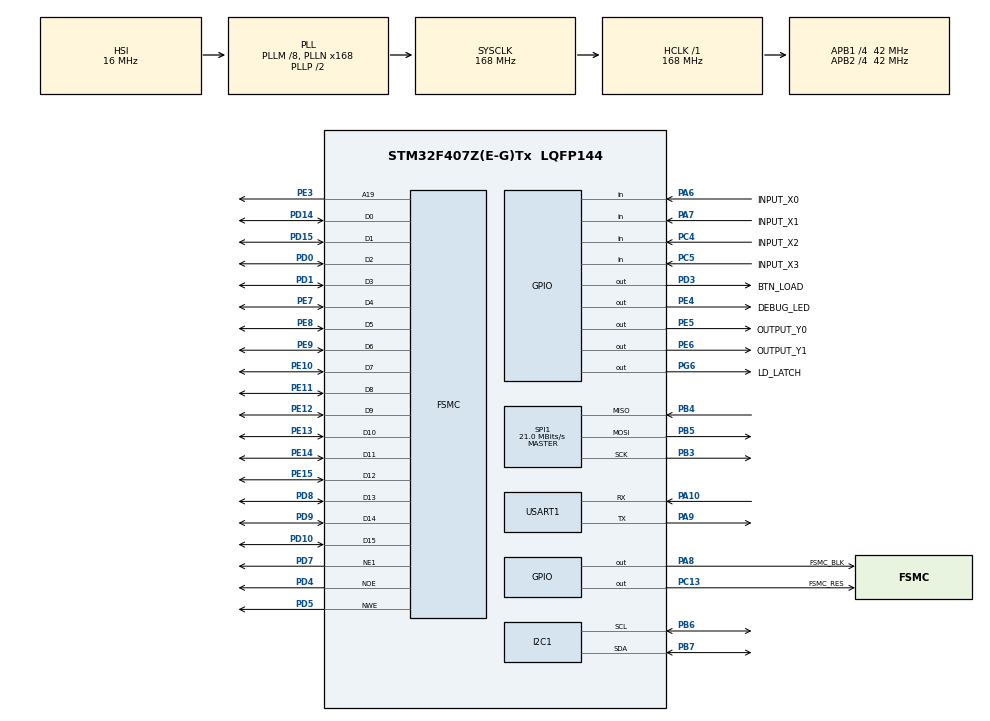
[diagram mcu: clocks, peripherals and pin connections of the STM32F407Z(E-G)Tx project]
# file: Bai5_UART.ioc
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FSMC.AddressSetupTime1=0xf
FSMC.BusTurnAroundDuration1=0
FSMC.DataSetupTime1=60
FSMC.ExtendedAddressSetupTime1=8
FSMC.ExtendedBusTurnAroundDuration1=0
FSMC.ExtendedDataSetupTime1=9
FSMC.ExtendedMode1=FSMC_EXTENDED_MODE_ENABLE
I2C1.I2C_Mode=I2C_Standard
Mcu.Family=STM32F4
Mcu.Name=STM32F407Z(E-G)Tx
Mcu.Package=LQFP144
NVIC.PriorityGroup=NVIC_PRIORITYGROUP_4
NVIC.TIM2_IRQn=true\:0\:0\:false\:false\:true\:true\:true\:true
NVIC.TIM4_IRQn=true\:0\:0\:false\:false\:true\:true\:true\:true
NVIC.USART1_IRQn=true\:0\:0\:false\:false\:true\:true\:true\:true
PA10.Mode=Asynchronous
PA10.Signal=USART1_RX
PA13.Mode=Serial_Wire
PA13.Signal=SYS_JTMS-SWDIO
PA14.Mode=Serial_Wire
PA14.Signal=SYS_JTCK-SWCLK
PA6.GPIO_Label=INPUT_X0
PA6.Signal=GPIO_Input
PA7.GPIO_Label=INPUT_X1
PA7.Signal=GPIO_Input
PA8.GPIO_Label=FSMC_BLK
PA8.Signal=GPIO_Output
PA9.Mode=Asynchronous
PA9.Signal=USART1_TX
PB3.Mode=Full_Duplex_Master
PB3.Signal=SPI1_SCK
PB4.Mode=Full_Duplex_Master
PB4.Signal=SPI1_MISO
PB5.Mode=Full_Duplex_Master
PB5.Signal=SPI1_MOSI
PB6.Mode=I2C
PB6.Signal=I2C1_SCL
PB7.Mode=I2C
PB7.Signal=I2C1_SDA
PC13-ANTI_TAMP.GPIO_Label=FSMC_RES
PC13-ANTI_TAMP.Signal=GPIO_Output
PC4.GPIO_Label=INPUT_X2
PC4.Signal=GPIO_Input
PC5.GPIO_Label=INPUT_X3
PC5.Signal=GPIO_Input
PD0.Signal=FSMC_D2_DA2
PD1.Signal=FSMC_D3_DA3
PD10.Signal=FSMC_D15_DA15
PD14.Signal=FSMC_D0_DA0
PD15.Signal=FSMC_D1_DA1
PD3.GPIO_Label=BTN_LOAD
PD3.Signal=GPIO_Output
PD4.Signal=FSMC_NOE
PD5.Signal=FSMC_NWE
PD7.Mode=NorPsramChipSelect1_1
PD7.Signal=FSMC_NE1
PD8.Signal=FSMC_D13_DA13
PD9.Signal=FSMC_D14_DA14
PE10.Signal=FSMC_D7_DA7
PE11.Signal=FSMC_D8_DA8
PE12.Signal=FSMC_D9_DA9
PE13.Signal=FSMC_D10_DA10
PE14.Signal=FSMC_D11_DA11
PE15.Signal=FSMC_D12_DA12
PE3.Signal=FSMC_A19
PE4.GPIO_Label=DEBUG_LED
PE4.Signal=GPIO_Output
PE5.GPIO_Label=OUTPUT_Y0
PE5.Signal=GPIO_Output
PE6.GPIO_Label=OUTPUT_Y1
PE6.Signal=GPIO_Output
PE7.Signal=FSMC_D4_DA4
PE8.Signal=FSMC_D5_DA5
PE9.Signal=FSMC_D6_DA6
PG6.GPIO_Label=LD_LATCH
PG6.Signal=GPIO_Output
PH0-OSC_IN.Mode=HSE-External-Oscillator
PH0-OSC_IN.Signal=RCC_OSC_IN
PH1-OSC_OUT.Mode=HSE-External-Oscillator
PH1-OSC_OUT.Signal=RCC_OSC_OUT
ProjectManager.HeapSize=0x200
ProjectManager.StackSize=0x400
ProjectManager.TargetToolchain=STM32CubeIDE
RCC.48MHZClocksFreq_Value=84000000
RCC.AHBFreq_Value=168000000
RCC.APB1CLKDivider=RCC_HCLK_DIV4
RCC.APB1Freq_Value=42000000
RCC.APB1TimFreq_Value=84000000
RCC.APB2CLKDivider=RCC_HCLK_DIV4
RCC.APB2Freq_Value=42000000
RCC.APB2TimFreq_Value=84000000
RCC.CortexFreq_Value=168000000
RCC.HCLKFreq_Value=168000000
RCC.HSE_VALUE=8000000
RCC.HSI_VALUE=16000000
RCC.LSE_VALUE=32768
RCC.PLLM=8
RCC.PLLN=168
RCC.SYSCLKFreq_VALUE=168000000
RCC.SYSCLKSource=RCC_SYSCLKSOURCE_PLLCLK
RCC.VCOOutputFreq_Value=336000000
SH.FSMC_A19.0=FSMC_A19,A19_1
SH.FSMC_D0_DA0.0=FSMC_D0,16b-d1
SH.FSMC_D10_DA10.0=FSMC_D10,16b-d1
SH.FSMC_D11_DA11.0=FSMC_D11,16b-d1
SH.FSMC_D12_DA12.0=FSMC_D12,16b-d1
SH.FSMC_D13_DA13.0=FSMC_D13,16b-d1
SH.FSMC_D14_DA14.0=FSMC_D14,16b-d1
SH.FSMC_D15_DA15.0=FSMC_D15,16b-d1
SH.FSMC_D1_DA1.0=FSMC_D1,16b-d1
SH.FSMC_D2_DA2.0=FSMC_D2,16b-d1
SH.FSMC_D3_DA3.0=FSMC_D3,16b-d1
SH.FSMC_D4_DA4.0=FSMC_D4,16b-d1
SH.FSMC_D5_DA5.0=FSMC_D5,16b-d1
SH.FSMC_D6_DA6.0=FSMC_D6,16b-d1
SH.FSMC_D7_DA7.0=FSMC_D7,16b-d1
SH.FSMC_D8_DA8.0=FSMC_D8,16b-d1
SH.FSMC_D9_DA9.0=FSMC_D9,16b-d1
SH.FSMC_NOE.0=FSMC_NOE,Lcd1
SH.FSMC_NWE.0=FSMC_NWE,Lcd1
SPI1.BaudRatePrescaler=SPI_BAUDRATEPRESCALER_2
SPI1.CalculateBaudRate=21.0 MBits/s
SPI1.Direction=SPI_DIRECTION_2LINES
SPI1.Mode=SPI_MODE_MASTER
SPI1.VirtualType=VM_MASTER
TIM2.Period=100-1
TIM2.Prescaler=8400-1
TIM4.Period=10 - 1
USART1.VirtualMode=VM_ASYNC
VP_TIM2_VS_ClockSourceINT.Mode=Internal
VP_TIM4_VS_ClockSourceINT.Mode=Internal
board=custom

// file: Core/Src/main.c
/* USER CODE BEGIN Header */
/**
 ******************************************************************************
 * @file           : main.c
 * @brief          : Main program body
 ******************************************************************************
 * @attention
 *
 * <h2><center>&copy; Copyright (c) 2023 STMicroelectronics.
 * All rights reserved.</center></h2>
 *
 * This software component is licensed by ST under BSD 3-Clause license,
 * the "License"; You may not use this file except in compliance with the
 * License. You may obtain a copy of the License at:
 *                        opensource.org/licenses/BSD-3-Clause
 *
 ******************************************************************************
 */
/* USER CODE END Header */
#include "main.h"
#include "i2c.h"
#include "spi.h"
#include "tim.h"
#include "usart.h"
#include "gpio.h"
#include "fsmc.h"

/* USER CODE BEGIN Includes */
#include "sTimer.h"
#include "led_7seg.h"
#include "button.h"
#include "lcd.h"
#include "picture.h"
#include "ds3231.h"
#include "uart.h"
#include "ring_buffer.h"
/* USER CODE END Includes */

/* USER CODE BEGIN PM */

// Button Macros
#define BTN_0_INDEX 		13

// Remote update time modes
#define UPDATE_HOURS		0
#define WAIT_FOR_HOURS		1
#define UPDATE_MINUTES		2
#define WAIT_FOR_MINUTES	3
#define UPDATE_SECONDS		4
#define UPDATE_DAYS			5
#define UPDATE_DATES		6
#define UPDATE_MONTHS		7
#define UPDATE_YEARS		8
#define WAIT_FOR_SECONDS	9
#define WAIT_FOR_DAYS		10
#define WAIT_FOR_DATES		11
#define WAIT_FOR_MONTHS		12
#define WAIT_FOR_YEARS		13

#define UART_TIMEOUT_CNT		200 // 10s, because software timer 2 cycle is 50ms
#define UART_TIMEOUT_MAX_TRIES	2

#define PI 3.14159265358979323846
/* USER CODE END PM */

/* USER CODE BEGIN PV */
uint8_t remote_update_time_status;
uint8_t timeout_cnt = 0;
uint8_t uart_timer_cnt = 0; // Used for detecting timeout in UART communication
uint8_t uart_hour = 0;
uint8_t uart_minute = 0;
uint8_t uart_second = 0;
uint8_t uart_date = 0;
uint8_t uart_day = 0;
uint8_t uart_month = 0;
uint16_t uart_year = 0;

/* USER CODE END PV */

void SystemClock_Config(void);
/* USER CODE BEGIN PFP */
void system_init();
void test_LedDebug();
void displayClock(int x_coor, int y_coor, int radius);
void displayLocation(int y_coor, char *str, char *GMT_str, uint8_t char_size);

float displaySecClockwise(int x_coor, int y_coor, int length,
		const uint8_t *second, uint16_t color);
float displayMinClockwise(int x_coor, int y_coor, int length,
		const uint8_t *second, const uint8_t *minute, uint16_t color);
float displayHourClockwise(int x_coor, int y_coor, int length,
		const uint8_t *minute, const uint8_t *hour, uint16_t color);

void displayTime(int x_coor, int y_coor, const uint8_t *second,
		const uint8_t *minute, const uint8_t *hour, uint8_t char_size,
		uint16_t color_sec, uint16_t color_min, uint16_t color_hour);
void displayDate(int x_coor, int y_coor, const uint8_t *date,
		const uint8_t *month, const uint16_t *year, uint8_t char_size,
		uint16_t color_date, uint16_t color_month, uint16_t color_year);
void displayTemp(int x_coor, int y_coor, float temperature, uint8_t char_size,
		uint16_t color_temp);
void displayDay(int x_coor, int y_coor, const uint8_t *day, uint8_t char_size,
		uint16_t color_day);

void displayTimeLed7Seg(const uint8_t *second, const uint8_t *minute,
		const uint8_t *hour);
void setTime(uint8_t *second, uint8_t *minute, uint8_t *hour, uint8_t *day,
		uint8_t *date, uint8_t *month, uint16_t *year);
void setAlarm1(uint8_t second, uint8_t minute, uint8_t hour, uint8_t day,
		uint8_t date);
void setAlarm2(uint8_t minute, uint8_t hour, uint8_t day, uint8_t date);

void increaseSec(void);
void decreaseSec(void);
void increaseMin(void);
void decreaseMin(void);
void increaseHour(void);
void decreaseHour(void);
void increaseDay(void);
void decreaseDay(void);
void increaseDate(void);
void decreaseDate(void);
void increaseMonth(void);
void decreaseMonth(void);
void increaseYear(void);
void decreaseYear(void);
int getDaysInMonth(int month, int year);

/* USER CODE END PFP */

/* USER CODE BEGIN 0 */
enum State {
	Mode_init,
	Mode_word_clock,
	Mode_login,
	Mode_config_time,
	Mode_config_alarm,
	Mode_stopwatch,
	Mode_timers,
	Mode_monitor_register,
	Mode_remote_config_time
};
enum State current_mode = Mode_init;
enum State previous_mode = Mode_init;

enum State_config {
	Mode_config_second,
	Mode_config_minute,
	Mode_config_hour,
	Mode_config_day,
	Mode_config_date,
	Mode_config_month,
	Mode_config_year
};
enum State_config current_mode_config = Mode_config_second;
enum State_config previous_mode_config = Mode_config_minute;
/* USER CODE END PFP */

/* Private user code ---------------------------------------------------------*/
/* USER CODE BEGIN 0 */

/* USER CODE END 0 */

int main(void) {

	/* MCU Configuration--------------------------------------------------------*/

	/* Reset of all peripherals, Initializes the Flash interface and the Systick. */
	HAL_Init();

	/* Configure the system clock */
	SystemClock_Config();

	/* Initialize all configured peripherals */
	MX_GPIO_Init();
	MX_TIM2_Init();
	MX_SPI1_Init();
	MX_FSMC_Init();
	MX_I2C1_Init();
	MX_USART1_UART_Init();
	MX_TIM4_Init();
	/* USER CODE BEGIN 2 */
	system_init();
	/* USER CODE END 2 */

	sTimer4Set(1000, 50); // interrupt every 50ms
	sTimer2Set(0, 500); // interrupt every 500ms

	int clock_radius = 100;

	/* USER CODE END 2 */

	/* Infinite loop */
	/* USER CODE BEGIN WHILE */
	while (1) {
		if (sTimer4GetFlag()) {
			button_Scan();
			uart_timer_cnt++;
		}

		switch (current_mode) {
		case Mode_init: {
			led7_SetColon(1);
			setTime(&set_time.second, &set_time.minute, &set_time.hour,
					&set_time.day, &set_time.date, &set_time.month,
					&set_time.year);
			ds3231ReadTime();
			current_time.alarm_on = false;
			current_mode = Mode_config_time;
			break;
		}
		case Mode_word_clock: {
			if (previous_mode != current_mode) {
				lcdClear(WHITE);
				clock_radius = 100;
				displayClock(LCD_WIDTH / 2, 110, clock_radius);

				(void) displaySecClockwise(LCD_WIDTH / 2, 110,
						clock_radius - 30, &current_time.second, BLUE);
				(void) displayMinClockwise(LCD_WIDTH / 2, 110,
						clock_radius - 40, &current_time.second,
						&current_time.minute, BLACK);
				(void) displayHourClockwise(LCD_WIDTH / 2, 110,
						clock_radius - 50, &current_time.minute,
						&current_time.hour, RED);

				displayTime(LCD_WIDTH / 2, 240, &current_time.second,
						&current_time.minute, &current_time.hour, 32, BLACK,
						BLACK, BLACK);
				displayDate(LCD_WIDTH / 2, 240 + 32, &current_time.date,
						&current_time.month, &current_time.year, 24, DARKBLUE,
						DARKBLUE, DARKBLUE);
				displayDay(20, 320 - 10 - 24, &current_time.day, 24, RED);

				previous_mode = current_mode;
			}

			if (sTimer2GetFlag()) {
//				debugSystem();
				test_LedDebug();

				ds3231ReadTime();

				(void) displaySecClockwise(LCD_WIDTH / 2, 110,
						clock_radius - 30, &current_time.second, BLUE);
				(void) displayMinClockwise(LCD_WIDTH / 2, 110,
						clock_radius - 40, &current_time.second,
						&current_time.minute, BLACK);
				(void) displayHourClockwise(LCD_WIDTH / 2, 110,
						clock_radius - 50, &current_time.minute,
						&current_time.hour, RED);

				displayTime(LCD_WIDTH / 2, 240, &current_time.second,
						&current_time.minute, &current_time.hour, 32, BLACK,
						BLACK, BLACK);
				if (current_time.second == 0 && current_time.minute == 0
						&& current_time.hour == 0) {
					displayDate(LCD_WIDTH / 2, 240 + 32, &current_time.date,
							&current_time.month, &current_time.year, 24,
							DARKBLUE, DARKBLUE, DARKBLUE);
					displayDay(20, 320 - 34, &current_time.day, 24, RED);
				}

				displayTimeLed7Seg(&current_time.second, &current_time.minute,
						&current_time.hour);
			}

			if (button_count[12] == 1) {
				current_mode = Mode_config_time;
				button_count[12] += 1;
			}

			break;
		}
		case Mode_config_time: {
			if (previous_mode != current_mode) {
				ds3231ReadTime();
				set_time.second = current_time.second;
				set_time.minute = current_time.minute;
				set_time.hour = current_time.hour;
				set_time.day = current_time.day;
				set_time.date = current_time.date;
				set_time.month = current_time.month;
				set_time.year = current_time.year;

				lcdClear(WHITE);
				clock_radius = 100;
				displayClock(LCD_WIDTH / 2, 110, clock_radius);

				current_mode_config = Mode_config_second;
				previous_mode_config = Mode_config_minute;

				previous_mode = current_mode;
			}

			switch (current_mode_config) {
			case Mode_config_second: {
				if (previous_mode_config != current_mode_config) {
					(void) displayMinClockwise(LCD_WIDTH / 2, 110,
							clock_radius - 40, &set_time.second,
							&set_time.minute, BLACK);
					(void) displayHourClockwise(LCD_WIDTH / 2, 110,
							clock_radius - 50, &set_time.minute, &set_time.hour,
							BLUE);
					(void) displaySecClockwise(LCD_WIDTH / 2, 110,
							clock_radius - 30, &set_time.second, RED);

					displayTime(LCD_WIDTH / 2, 240, &set_time.second,
							&set_time.minute, &set_time.hour, 32, RED, BLACK,
							BLACK);
					displayDate(LCD_WIDTH / 2, 240 + 32, &set_time.date,
							&set_time.month, &set_time.year, 24, DARKBLUE,
							DARKBLUE, DARKBLUE);
					displayDay(20, 320 - 10 - 24, &set_time.day, 24, DARKBLUE);

					displayTimeLed7Seg(&set_time.second, &set_time.minute,
							&set_time.hour);

					previous_mode_config = current_mode_config;
				}

				if (sTimer2GetFlag()) {
					static int counter = 0;
					counter += 1;

					if (counter % 4 == 0) {
//						led7SegDebugTurnOff(6);
//						led7SegDebugTurnOff(7);
//						led7SegDebugTurnOff(8);
					} else if (counter % 2 == 0) {
						displayTimeLed7Seg(&set_time.second, &set_time.minute,
								&set_time.hour);
					}
				}

				if (button_count[11] % 30 == 1) // check button is held 1.5 second
						{
					current_mode_config = Mode_config_minute;
					button_count[11] += 1;
				} else if (button_count[3] % 20 == 1) {
					increaseSec();

					(void) displayMinClockwise(LCD_WIDTH / 2, 110,
							clock_radius - 40, &set_time.second,
							&set_time.minute, BLACK);
					(void) displayHourClockwise(LCD_WIDTH / 2, 110,
							clock_radius - 50, &set_time.minute, &set_time.hour,
							BLUE);
					(void) displaySecClockwise(LCD_WIDTH / 2, 110,
							clock_radius - 30, &set_time.second, RED);

					displayTime(LCD_WIDTH / 2, 240, &set_time.second,
							&set_time.minute, &set_time.hour, 32, RED, BLACK,
							BLACK);

					button_count[3] += 1;
				} else if (button_count[7] % 20 == 1) {
					decreaseSec();

					(void) displayMinClockwise(LCD_WIDTH / 2, 110,
							clock_radius - 40, &set_time.second,
							&set_time.minute, BLACK);
					(void) displayHourClockwise(LCD_WIDTH / 2, 110,
							clock_radius - 50, &set_time.minute, &set_time.hour,
							BLUE);
					(void) displaySecClockwise(LCD_WIDTH / 2, 110,
							clock_radius - 30, &set_time.second, RED);

					displayTime(LCD_WIDTH / 2, 240, &set_time.second,
							&set_time.minute, &set_time.hour, 32, RED, BLACK,
							BLACK);

					button_count[7] += 1;
				}

				break;
			}
			case Mode_config_minute: {
				if (previous_mode_config != current_mode_config) {
					(void) displaySecClockwise(LCD_WIDTH / 2, 110,
							clock_radius - 30, &set_time.second, BLACK);
					(void) displayHourClockwise(LCD_WIDTH / 2, 110,
							clock_radius - 50, &set_time.minute, &set_time.hour,
							BLUE);
					(void) displayMinClockwise(LCD_WIDTH / 2, 110,
							clock_radius - 40, &set_time.second,
							&set_time.minute, RED);

					displayTime(LCD_WIDTH / 2, 240, &set_time.second,
							&set_time.minute, &set_time.hour, 32, BLACK, RED,
							BLACK);
					displayDate(LCD_WIDTH / 2, 240 + 32, &set_time.date,
							&set_time.month, &set_time.year, 24, DARKBLUE,
							DARKBLUE, DARKBLUE);
					displayDay(20, 320 - 10 - 24, &set_time.day, 24, DARKBLUE);

					displayTimeLed7Seg(&set_time.second, &set_time.minute,
							&set_time.hour);

					previous_mode_config = current_mode_config;
				}

				if (sTimer2GetFlag()) {
					static int counter = 0;
					counter += 1;

					if (counter % 4 == 0) {
//						led7SegTurnOff(2);
//						led7SegTurnOff(3);
					} else if (counter % 2 == 0) {
						displayTimeLed7Seg(&set_time.second, &set_time.minute,
								&set_time.hour);
					}
				}

				if (button_count[11] % 30 == 1) // check button is held 1.5 second
						{
					current_mode_config = Mode_config_hour;
					button_count[11] += 1;
				} else if (button_count[15] % 30 == 1) {
					current_mode_config = Mode_config_second;
					button_count[15] += 1;
				} else if (button_count[3] % 20 == 1) {
					increaseMin();

					(void) displaySecClockwise(LCD_WIDTH / 2, 110,
							clock_radius - 30, &set_time.second, BLACK);
					(void) displayHourClockwise(LCD_WIDTH / 2, 110,
							clock_radius - 50, &set_time.minute, &set_time.hour,
							BLUE);
					(void) displayMinClockwise(LCD_WIDTH / 2, 110,
							clock_radius - 40, &set_time.second,
							&set_time.minute, RED);

					displayTime(LCD_WIDTH / 2, 240, &set_time.second,
							&set_time.minute, &set_time.hour, 32, BLACK, RED,
							BLACK);

					button_count[3] += 1;
				} else if (button_count[7] % 20 == 1) {
					decreaseMin();

					(void) displaySecClockwise(LCD_WIDTH / 2, 110,
							clock_radius - 30, &set_time.second, BLACK);
					(void) displayHourClockwise(LCD_WIDTH / 2, 110,
							clock_radius - 50, &set_time.minute, &set_time.hour,
							BLUE);
					(void) displayMinClockwise(LCD_WIDTH / 2, 110,
							clock_radius - 40, &set_time.second,
							&set_time.minute, RED);

					displayTime(LCD_WIDTH / 2, 240, &set_time.second,
							&set_time.minute, &set_time.hour, 32, BLACK, RED,
							BLACK);

					button_count[7] += 1;
				}

				break;
			}
			case Mode_config_hour: {
				if (previous_mode_config != current_mode_config) {
					(void) displaySecClockwise(LCD_WIDTH / 2, 110,
							clock_radius - 30, &set_time.second, BLACK);
					(void) displayMinClockwise(LCD_WIDTH / 2, 110,
							clock_radius - 40, &set_time.second,
							&set_time.minute, BLUE);
					(void) displayHourClockwise(LCD_WIDTH / 2, 110,
							clock_radius - 50, &set_time.minute, &set_time.hour,
							RED);

					displayTime(LCD_WIDTH / 2, 240, &set_time.second,
							&set_time.minute, &set_time.hour, 32, BLACK, BLACK,
							RED);
					displayDate(LCD_WIDTH / 2, 240 + 32, &set_time.date,
							&set_time.month, &set_time.year, 24, DARKBLUE,
							DARKBLUE, DARKBLUE);
					displayDay(20, 320 - 10 - 24, &set_time.day, 24, DARKBLUE);

					displayTimeLed7Seg(&set_time.second, &set_time.minute,
							&set_time.hour);

					previous_mode_config = current_mode_config;
				}

				if (sTimer2GetFlag()) {
					static int counter = 0;
					counter += 1;

					if (counter % 4 == 0) {
//						led7SegTurnOff(0);
//						led7SegTurnOff(1);
					} else if (counter % 2 == 0) {
						displayTimeLed7Seg(&set_time.second, &set_time.minute,
								&set_time.hour);
					}
				}

				if (button_count[11] % 30 == 1) // check button is held 1.5 second
						{
					current_mode_config = Mode_config_day;
					button_count[11] += 1;
				} else if (button_count[15] % 30 == 1) {
					current_mode_config = Mode_config_minute;
					button_count[15] += 1;
				} else if (button_count[3] % 20 == 1) // check button is held 1 second
						{
					increaseHour();

					(void) displaySecClockwise(LCD_WIDTH / 2, 110,
							clock_radius - 30, &set_time.second, BLACK);
					(void) displayMinClockwise(LCD_WIDTH / 2, 110,
							clock_radius - 40, &set_time.second,
							&set_time.minute, BLUE);
					(void) displayHourClockwise(LCD_WIDTH / 2, 110,
							clock_radius - 50, &set_time.minute, &set_time.hour,
							RED);

					displayTime(LCD_WIDTH / 2, 240, &set_time.second,
							&set_time.minute, &set_time.hour, 32, BLACK, BLACK,
							RED);

					button_count[3] += 1;
				} else if (button_count[7] % 20 == 1) {
					decreaseHour();

					(void) displaySecClockwise(LCD_WIDTH / 2, 110,
							clock_radius - 30, &set_time.second, BLACK);
					(void) displayMinClockwise(LCD_WIDTH / 2, 110,
							clock_radius - 40, &set_time.second,
							&set_time.minute, BLUE);
					(void) displayHourClockwise(LCD_WIDTH / 2, 110,
							clock_radius - 50, &set_time.minute, &set_time.hour,
							RED);

					displayTime(LCD_WIDTH / 2, 240, &set_time.second,
							&set_time.minute, &set_time.hour, 32, BLACK, BLACK,
							RED);

					button_count[7] += 1;
				}

				break;
			}
			case Mode_config_day: {
				if (previous_mode_config != current_mode_config) {
					(void) displaySecClockwise(LCD_WIDTH / 2, 110,
							clock_radius - 30, &set_time.second, BLACK);
					(void) displayMinClockwise(LCD_WIDTH / 2, 110,
							clock_radius - 40, &set_time.second,
							&set_time.minute, BLUE);
					(void) displayHourClockwise(LCD_WIDTH / 2, 110,
							clock_radius - 50, &set_time.minute, &set_time.hour,
							RED);

					displayTime(LCD_WIDTH / 2, 240, &set_time.second,
							&set_time.minute, &set_time.hour, 32, BLACK, BLACK,
							BLACK);
					displayDate(LCD_WIDTH / 2, 240 + 32, &set_time.date,
							&set_time.month, &set_time.year, 24, DARKBLUE,
							DARKBLUE, DARKBLUE);
					displayDay(20, 320 - 10 - 24, &set_time.day, 24, RED);

					displayTimeLed7Seg(&set_time.second, &set_time.minute,
							&set_time.hour);

					previous_mode_config = current_mode_config;
				}

				if (button_count[11] % 30 == 1) // check button is held 1.5 second
						{
					current_mode_config = Mode_config_date;
					button_count[11] += 1;
				} else if (button_count[15] % 30 == 1) {
					current_mode_config = Mode_config_hour;
					button_count[15] += 1;
				} else if (button_count[3] % 20 == 1) // check button is held 1 second
						{
					increaseDay();

					displayDay(20, 320 - 10 - 24, &set_time.day, 24, RED);

					button_count[3] += 1;
				} else if (button_count[7] % 20 == 1) {
					decreaseDay();

					displayDay(20, 320 - 10 - 24, &set_time.day, 24, RED);

					button_count[7] += 1;
				}

				break;
			}
			case Mode_config_date: {
				if (previous_mode_config != current_mode_config) {
					(void) displaySecClockwise(LCD_WIDTH / 2, 110,
							clock_radius - 30, &set_time.second, BLACK);
					(void) displayMinClockwise(LCD_WIDTH / 2, 110,
							clock_radius - 40, &set_time.second,
							&set_time.minute, BLUE);
					(void) displayHourClockwise(LCD_WIDTH / 2, 110,
							clock_radius - 50, &set_time.minute, &set_time.hour,
							RED);

					displayTime(LCD_WIDTH / 2, 240, &set_time.second,
							&set_time.minute, &set_time.hour, 32, BLACK, BLACK,
							BLACK);
					displayDate(LCD_WIDTH / 2, 240 + 32, &set_time.date,
							&set_time.month, &set_time.year, 24, RED, DARKBLUE,
							DARKBLUE);
					displayDay(20, 320 - 10 - 24, &set_time.day, 24, DARKBLUE);

					displayTimeLed7Seg(&set_time.second, &set_time.minute,
							&set_time.hour);

					previous_mode_config = current_mode_config;
				}

				if (button_count[11] % 30 == 1) // check button is held 1.5 second
						{
					current_mode_config = Mode_config_month;
					button_count[11] += 1;
				} else if (button_count[15] % 30 == 1) {
					current_mode_config = Mode_config_day;
					button_count[15] += 1;
				} else if (button_count[3] % 20 == 1) // check button is held 1 second
						{
					increaseDate();

					displayDate(LCD_WIDTH / 2, 240 + 32, &set_time.date,
							&set_time.month, &set_time.year, 24, RED, DARKBLUE,
							DARKBLUE);

					button_count[3] += 1;
				} else if (button_count[7] % 20 == 1) {
					decreaseDate();

					displayDate(LCD_WIDTH / 2, 240 + 32, &set_time.date,
							&set_time.month, &set_time.year, 24, RED, DARKBLUE,
							DARKBLUE);

					button_count[7] += 1;
				}

				break;
			}
			case Mode_config_month: {
				if (previous_mode_config != current_mode_config) {
					(void) displaySecClockwise(LCD_WIDTH / 2, 110,
							clock_radius - 30, &set_time.second, BLACK);
					(void) displayMinClockwise(LCD_WIDTH / 2, 110,
							clock_radius - 40, &set_time.second,
							&set_time.minute, BLUE);
					(void) displayHourClockwise(LCD_WIDTH / 2, 110,
							clock_radius - 50, &set_time.minute, &set_time.hour,
							RED);

					displayTime(LCD_WIDTH / 2, 240, &set_time.second,
							&set_time.minute, &set_time.hour, 32, BLACK, BLACK,
							BLACK);
					displayDate(LCD_WIDTH / 2, 240 + 32, &set_time.date,
							&set_time.month, &set_time.year, 24, DARKBLUE, RED,
							DARKBLUE);
					displayDay(20, 320 - 10 - 24, &set_time.day, 24, DARKBLUE);

					displayTimeLed7Seg(&set_time.second, &set_time.minute,
							&set_time.hour);

					previous_mode_config = current_mode_config;
				}

				if (button_count[11] % 30 == 1) // check button is held 1.5 second
						{
					current_mode_config = Mode_config_year;
					button_count[11] += 1;
				} else if (button_count[15] % 30 == 1) {
					current_mode_config = Mode_config_date;
					button_count[15] += 1;
				} else if (button_count[3] % 20 == 1) // check button is held 1 second
						{
					increaseMonth();

					displayDate(LCD_WIDTH / 2, 240 + 32, &set_time.date,
							&set_time.month, &set_time.year, 24, DARKBLUE, RED,
							DARKBLUE);

					button_count[3] += 1;
				} else if (button_count[7] % 20 == 1) {
					decreaseMonth();

					displayDate(LCD_WIDTH / 2, 240 + 32, &set_time.date,
							&set_time.month, &set_time.year, 24, DARKBLUE, RED,
							DARKBLUE);

					button_count[7] += 1;
				}

				break;
			}
			case Mode_config_year: {
				if (previous_mode_config != current_mode_config) {
					(void) displaySecClockwise(LCD_WIDTH / 2, 110,
							clock_radius - 30, &set_time.second, BLACK);
					(void) displayMinClockwise(LCD_WIDTH / 2, 110,
							clock_radius - 40, &set_time.second,
							&set_time.minute, BLUE);
					(void) displayHourClockwise(LCD_WIDTH / 2, 110,
							clock_radius - 50, &set_time.minute, &set_time.hour,
							RED);

					displayTime(LCD_WIDTH / 2, 240, &set_time.second,
							&set_time.minute, &set_time.hour, 32, BLACK, BLACK,
							BLACK);
					displayDate(LCD_WIDTH / 2, 240 + 32, &set_time.date,
							&set_time.month, &set_time.year, 24, DARKBLUE,
							DARKBLUE, RED);
					displayDay(20, 320 - 10 - 24, &set_time.day, 24, DARKBLUE);

					displayTimeLed7Seg(&set_time.second, &set_time.minute,
							&set_time.hour);

					previous_mode_config = current_mode_config;
				}

				if (button_count[15] % 30 == 1) {
					current_mode_config = Mode_config_month;
					button_count[15] += 1;
				} else if (button_count[3] % 20 == 1) // check button is held 1 second
						{
					increaseYear();

					displayDate(LCD_WIDTH / 2, 240 + 32, &set_time.date,
							&set_time.month, &set_time.year, 24, DARKBLUE,
							DARKBLUE, RED);

					button_count[3] += 1;
				} else if (button_count[7] % 20 == 1) {
					decreaseYear();

					displayDate(LCD_WIDTH / 2, 240 + 32, &set_time.date,
							&set_time.month, &set_time.year, 24, DARKBLUE,
							DARKBLUE, RED);

					button_count[7] += 1;
				}

				break;
			}
			}

			if (button_count[12] == 1) {
				setTime(&set_time.second, &set_time.minute, &set_time.hour,
						&set_time.day, &set_time.date, &set_time.month,
						&set_time.year);
				ds3231ReadTime();
				current_mode = Mode_remote_config_time;
				lcdClear(BLACK);
				remote_update_time_status = UPDATE_HOURS;
				button_count[12] += 1;
			} else if (button_count[14] == 1) {
				current_mode = Mode_word_clock;
				button_count[14] += 1;
			}
			break;
		}
		case Mode_config_alarm: {
			break;
		}
		case Mode_stopwatch: {
			break;
		}
		case Mode_timers: {
			break;
		}
		case Mode_monitor_register: {
			break;
		}
		case Mode_remote_config_time: {
			if (button_count[14] == 1) {
				current_mode = Mode_word_clock;
				button_count[14] += 1;
				break;
			}
			switch (remote_update_time_status) {
			case UPDATE_HOURS:
				uart_Rs232SendString("hours");
				lcdShowString(10, 20, "Updating hours...", GREEN, BLACK, 16, 0);
				remote_update_time_status = WAIT_FOR_HOURS;
				uart_timer_cnt = 0;
				break;
			case WAIT_FOR_HOURS:
				// Check for timeout
				if (uart_timer_cnt >= UART_TIMEOUT_CNT) {
					if (timeout_cnt >= UART_TIMEOUT_MAX_TRIES) {
						lcdClear(BLACK);
						lcdShowString(10, 100, "Wating hours timeout", RED,
						BLACK, 16, 0);
						current_mode = Mode_word_clock;
					} else {
						remote_update_time_status = UPDATE_HOURS;
						uart_timer_cnt = 0;
						timeout_cnt++;
					}
				} else {
					if (uart_receive_flag) {
						uart_receive_flag = 0;
						uint8_t hour_received = 0;
						uint8_t valid_format = 1;
						// Get the latest data
						while (uart_ring_buffer.length > 0) {
							uint8_t received_char = 0;
							ringBufferPop(&uart_ring_buffer, &received_char);
							if (received_char > '9' || received_char < '0') {
								valid_format = 0;
							} else {
								hour_received = hour_received * 10
										+ (received_char - '0');
							}
						}

						// Check hour format
						if (hour_received < 24 && valid_format) {
							lcdClear(BLACK);
							remote_update_time_status = UPDATE_MINUTES;
							uart_hour = hour_received;
							timeout_cnt = 0;
						} else {
							remote_update_time_status = UPDATE_HOURS;
							timeout_cnt = 0;
							lcdShowString(10, 100, "Wrong format of hours",
							RED, BLACK, 16, 0);
							lcdShowString(10, 120, "Try again", RED, BLACK, 16,
									0);
						}
					}
				}
				break;
			case UPDATE_MINUTES:
				uart_Rs232SendString("minutes");
				lcdShowString(10, 20, "Updating minutes...", GREEN, BLACK, 16,
						0);
				remote_update_time_status = WAIT_FOR_MINUTES;
				uart_timer_cnt = 0;
				break;
			case WAIT_FOR_MINUTES:
				// Check for timeout
				if (uart_timer_cnt >= UART_TIMEOUT_CNT) {
					if (timeout_cnt >= UART_TIMEOUT_MAX_TRIES) {
						lcdClear(BLACK);
						lcdShowString(10, 100, "Wating minutes timeout", RED,
						BLACK, 16, 0);
						current_mode = Mode_word_clock;
					} else {
						remote_update_time_status = UPDATE_MINUTES;
						uart_timer_cnt = 0;
						timeout_cnt++;
					}
				} else {
					if (uart_receive_flag) {
						uart_receive_flag = 0;
						uint8_t minute_received = 0;
						uint8_t valid_format = 1;
						// Get the latest data
						while (uart_ring_buffer.length > 0) {
							uint8_t received_char = 0;
							ringBufferPop(&uart_ring_buffer, &received_char);
							if (received_char > '9' || received_char < '0') {
								valid_format = 0;
							} else {
								minute_received = minute_received * 10
										+ (received_char - '0');
							}
						}

						// Check minute format
						if (minute_received < 60 && valid_format) {
							lcdClear(BLACK);
							remote_update_time_status = UPDATE_SECONDS;
							uart_minute = minute_received;
							timeout_cnt = 0;
						} else {
							remote_update_time_status = UPDATE_MINUTES;
							timeout_cnt = 0;
							lcdShowString(10, 100, "Wrong format of minutes",
							RED, BLACK, 16, 0);
							lcdShowString(10, 120, "Try again", RED, BLACK, 16,
									0);
						}
					}
				}
				break;
			case UPDATE_SECONDS:
				uart_Rs232SendString("seconds");
				lcdShowString(10, 20, "Updating seconds...", GREEN, BLACK, 16,
						0);
				remote_update_time_status = WAIT_FOR_SECONDS;
				uart_timer_cnt = 0;
				break;
			case WAIT_FOR_SECONDS:
				// Check for timeout
				if (uart_timer_cnt >= UART_TIMEOUT_CNT) {
					if (timeout_cnt >= UART_TIMEOUT_MAX_TRIES) {
						lcdClear(BLACK);
						lcdShowString(10, 100, "Wating seconds timeout", RED,
						BLACK, 16, 0);
						current_mode = Mode_word_clock;
					} else {
						remote_update_time_status = UPDATE_SECONDS;
						uart_timer_cnt = 0;
						timeout_cnt++;
					}
				} else {
					if (uart_receive_flag) {
						uart_receive_flag = 0;
						uint8_t second_received = 0;
						uint8_t valid_format = 1;
						// Get the latest data
						while (uart_ring_buffer.length > 0) {
							uint8_t received_char = 0;
							ringBufferPop(&uart_ring_buffer, &received_char);
							if (received_char > '9' || received_char < '0') {
								valid_format = 0;
							} else {
								second_received = second_received * 10
										+ (received_char - '0');
							}
						}

						// Check second format
						if (second_received < 60 && valid_format) {
							remote_update_time_status = UPDATE_DAYS;
							lcdClear(BLACK);
							uart_second = second_received;
							timeout_cnt = 0;
						} else {
							remote_update_time_status = UPDATE_SECONDS;
							timeout_cnt = 0;
							lcdShowString(10, 100, "Wrong format of seconds",
							RED, BLACK, 16, 0);
							lcdShowString(10, 120, "Try again", RED, BLACK, 16,
									0);
						}
					}
				}
				break;
			case UPDATE_DAYS:
				uart_Rs232SendString("days");
				lcdShowString(10, 20, "Updating days...", GREEN, BLACK, 16,
						0);
				remote_update_time_status = WAIT_FOR_DAYS;
				uart_timer_cnt = 0;
				break;
			case WAIT_FOR_DAYS:
				// Check for timeout
				if (uart_timer_cnt >= UART_TIMEOUT_CNT) {
					if (timeout_cnt >= UART_TIMEOUT_MAX_TRIES) {
						lcdClear(BLACK);
						lcdShowString(10, 100, "Wating days timeout", RED,
						BLACK, 16, 0);
						current_mode = Mode_word_clock;
					} else {
						remote_update_time_status = UPDATE_DAYS;
						uart_timer_cnt = 0;
						timeout_cnt++;
					}
				} else {
					if (uart_receive_flag) {
						uart_receive_flag = 0;
						uint16_t day_received = 0;
						uint8_t valid_format = 1;
						// Get the latest data
						while (uart_ring_buffer.length > 0) {
							uint8_t received_char = 0;
							ringBufferPop(&uart_ring_buffer, &received_char);
							if (received_char > '9' || received_char < '0') {
								valid_format = 0;
							} else {
								day_received = day_received * 10
										+ (received_char - '0');
							}
						}

						// Check second format
						if (day_received < 8 && day_received > 0 && valid_format) {
							lcdClear(BLACK);
							remote_update_time_status = UPDATE_YEARS;
							uart_day = day_received;
							timeout_cnt = 0;
						} else {
							remote_update_time_status = UPDATE_DAYS;
							timeout_cnt = 0;
							lcdShowString(10, 100, "Wrong format of days",
							RED, BLACK, 16, 0);
							lcdShowString(10, 120, "Try again", RED, BLACK, 16,
									0);
						}
					}
				}
				break;
			case UPDATE_YEARS:
				uart_Rs232SendString("years");
				lcdShowString(10, 20, "Updating years...", GREEN, BLACK, 16,
						0);
				remote_update_time_status = WAIT_FOR_YEARS;
				uart_timer_cnt = 0;
				break;
			case WAIT_FOR_YEARS:
				// Check for timeout
				if (uart_timer_cnt >= UART_TIMEOUT_CNT) {
					if (timeout_cnt >= UART_TIMEOUT_MAX_TRIES) {
						lcdClear(BLACK);
						lcdShowString(10, 100, "Wating years timeout", RED,
						BLACK, 16, 0);
						current_mode = Mode_word_clock;
					} else {
						remote_update_time_status = UPDATE_YEARS;
						uart_timer_cnt = 0;
						timeout_cnt++;
					}
				} else {
					if (uart_receive_flag) {
						uart_receive_flag = 0;
						uint16_t year_received = 0;
						uint8_t valid_format = 1;
						// Get the latest data
						while (uart_ring_buffer.length > 0) {
							uint8_t received_char = 0;
							ringBufferPop(&uart_ring_buffer, &received_char);
							if (received_char > '9' || received_char < '0') {
								valid_format = 0;
							} else {
								year_received = year_received * 10
										+ (received_char - '0');
							}
						}

						// Check second format
						if (year_received < 10000 && valid_format) {
							lcdClear(BLACK);
							remote_update_time_status = UPDATE_MONTHS;
							uart_year = year_received;
							timeout_cnt = 0;
						} else {
							remote_update_time_status = UPDATE_YEARS;
							timeout_cnt = 0;
							lcdShowString(10, 100, "Wrong format of years",
							RED, BLACK, 16, 0);
							lcdShowString(10, 120, "Try again", RED, BLACK, 16,
									0);
						}
					}
				}
				break;
			case UPDATE_MONTHS:
				uart_Rs232SendString("months");
				lcdShowString(10, 20, "Updating months...", GREEN, BLACK, 16,
						0);
				remote_update_time_status = WAIT_FOR_MONTHS;
				uart_timer_cnt = 0;
				break;
			case WAIT_FOR_MONTHS:
				// Check for timeout
				if (uart_timer_cnt >= UART_TIMEOUT_CNT) {
					if (timeout_cnt >= UART_TIMEOUT_MAX_TRIES) {
						lcdClear(BLACK);
						lcdShowString(10, 100, "Wating months timeout", RED,
						BLACK, 16, 0);
						current_mode = Mode_word_clock;
					} else {
						remote_update_time_status = UPDATE_MONTHS;
						uart_timer_cnt = 0;
						timeout_cnt++;
					}
				} else {
					if (uart_receive_flag) {
						uart_receive_flag = 0;
						uint8_t month_received = 0;
						uint8_t valid_format = 1;
						// Get the latest data
						while (uart_ring_buffer.length > 0) {
							uint8_t received_char = 0;
							ringBufferPop(&uart_ring_buffer, &received_char);
							if (received_char > '9' || received_char < '0') {
								valid_format = 0;
							} else {
								month_received = month_received * 10
										+ (received_char - '0');
							}
						}

						// Check second format
						if (month_received < 13 && valid_format) {
							lcdClear(BLACK);
							remote_update_time_status = UPDATE_DATES;
							uart_month = month_received;
							timeout_cnt = 0;
						} else {
							remote_update_time_status = UPDATE_MONTHS;
							timeout_cnt = 0;
							lcdShowString(10, 100, "Wrong format of months",
							RED, BLACK, 16, 0);
							lcdShowString(10, 120, "Try again", RED, BLACK, 16,
									0);
						}
					}
				}
				break;
			case UPDATE_DATES:
				uart_Rs232SendString("dates");
				lcdShowString(10, 20, "Updating dates...", GREEN, BLACK, 16,
						0);
				remote_update_time_status = WAIT_FOR_DATES;
				uart_timer_cnt = 0;
				break;
			case WAIT_FOR_DATES:
				// Check for timeout
				if (uart_timer_cnt >= UART_TIMEOUT_CNT) {
					if (timeout_cnt >= UART_TIMEOUT_MAX_TRIES) {
						lcdClear(BLACK);
						lcdShowString(10, 100, "Wating dates timeout", RED,
						BLACK, 16, 0);
						current_mode = Mode_word_clock;
					} else {
						remote_update_time_status = UPDATE_DATES;
						uart_timer_cnt = 0;
						timeout_cnt++;
					}
				} else {
					if (uart_receive_flag) {
						uart_receive_flag = 0;
						uint8_t date_received = 0;
						uint8_t valid_format = 1;
						// Get the latest data
						while (uart_ring_buffer.length > 0) {
							uint8_t received_char = 0;
							ringBufferPop(&uart_ring_buffer, &received_char);
							if (received_char > '9' || received_char < '0') {
								valid_format = 0;
							} else {
								date_received = date_received * 10
										+ (received_char - '0');
							}
						}

						// Check date format
						if (date_received <= getDaysInMonth(uart_month, uart_year) && valid_format) {
							current_mode = Mode_word_clock;
							uart_date = date_received;
							lcdClear(BLACK);
							lcdShowString(10, 100, "Update time successfully",
							GREEN, BLACK, 16, 0);
							set_time.second = uart_second;
							set_time.minute = uart_minute;
							set_time.hour = uart_hour;
							set_time.day = uart_day;
							set_time.year = uart_year;
							set_time.month = uart_month;
							set_time.date = uart_date;
							setTime(&set_time.second, &set_time.minute,
									&set_time.hour, &set_time.day,
									&set_time.date, &set_time.month,
									&set_time.year);
							ds3231ReadTime();
						} else {
							remote_update_time_status = UPDATE_DATES;
							timeout_cnt = 0;
							lcdShowString(10, 100, "Date not valid",
							RED, BLACK, 16, 0);
							lcdShowString(10, 120, "Try again", RED, BLACK, 16,
									0);
						}
					}
				}
				break;
			default:
				break;
			}
			break;
		}
		default: {
			current_mode = Mode_init;
		}
		}

		/* USER CODE END WHILE */

	}
}
void SystemClock_Config(void) {
	RCC_OscInitTypeDef RCC_OscInitStruct = { 0 };
	RCC_ClkInitTypeDef RCC_ClkInitStruct = { 0 };

	/** Configure the main internal regulator output voltage
	 */
	__HAL_RCC_PWR_CLK_ENABLE();
	__HAL_PWR_VOLTAGESCALING_CONFIG(PWR_REGULATOR_VOLTAGE_SCALE1);
	/** Initializes the RCC Oscillators according to the specified parameters
	 * in the RCC_OscInitTypeDef structure.
	 */
	RCC_OscInitStruct.OscillatorType = RCC_OSCILLATORTYPE_HSI;
	RCC_OscInitStruct.HSIState = RCC_HSI_ON;
	RCC_OscInitStruct.HSICalibrationValue = RCC_HSICALIBRATION_DEFAULT;
	RCC_OscInitStruct.PLL.PLLState = RCC_PLL_ON;
	RCC_OscInitStruct.PLL.PLLSource = RCC_PLLSOURCE_HSI;
	RCC_OscInitStruct.PLL.PLLM = 8;
	RCC_OscInitStruct.PLL.PLLN = 168;
	RCC_OscInitStruct.PLL.PLLP = RCC_PLLP_DIV2;
	RCC_OscInitStruct.PLL.PLLQ = 4;
	if (HAL_RCC_OscConfig(&RCC_OscInitStruct) != HAL_OK) {
		Error_Handler();
	}
	/** Initializes the CPU, AHB and APB buses clocks
	 */
	RCC_ClkInitStruct.ClockType = RCC_CLOCKTYPE_HCLK | RCC_CLOCKTYPE_SYSCLK
			| RCC_CLOCKTYPE_PCLK1 | RCC_CLOCKTYPE_PCLK2;
	RCC_ClkInitStruct.SYSCLKSource = RCC_SYSCLKSOURCE_PLLCLK;
	RCC_ClkInitStruct.AHBCLKDivider = RCC_SYSCLK_DIV1;
	RCC_ClkInitStruct.APB1CLKDivider = RCC_HCLK_DIV4;
	RCC_ClkInitStruct.APB2CLKDivider = RCC_HCLK_DIV4;

	if (HAL_RCC_ClockConfig(&RCC_ClkInitStruct, FLASH_LATENCY_5) != HAL_OK) {
		Error_Handler();
	}
}

/* USER CODE BEGIN 4 */
void system_init() {
	HAL_GPIO_WritePin(OUTPUT_Y0_GPIO_Port, OUTPUT_Y0_Pin, 0);
	HAL_GPIO_WritePin(OUTPUT_Y1_GPIO_Port, OUTPUT_Y1_Pin, 0);
	HAL_GPIO_WritePin(DEBUG_LED_GPIO_Port, DEBUG_LED_Pin, 0);
	initTimer2();
	initTimer4();
	led7_init();
	button_init();
	initLCD();
	initds3231();
	uart_init_rs232();
}

uint16_t count_led_debug = 0;

void test_LedDebug() {
	count_led_debug = (count_led_debug + 1) % 20;
	if (count_led_debug == 0) {
		HAL_GPIO_TogglePin(DEBUG_LED_GPIO_Port, DEBUG_LED_Pin);
	}
}

void test_button() {
	for (int i = 0; i < 16; i++) {
		if (button_count[i] == 1) {
			led7_SetDigit(i / 10, 2, 0);
			led7_SetDigit(i % 10, 3, 0);
		}
	}
}

void test_Uart() {
	if (button_count[12] == 1) {
		uart_Rs232SendNum(ds3231_hours);
		uart_Rs232SendString(":");
		uart_Rs232SendNum(ds3231_min);
		uart_Rs232SendString(":");
		uart_Rs232SendNum(ds3231_sec);
		uart_Rs232SendString("\n");
	}
}

/* USER CODE END 4 */
void setTime(uint8_t *second, uint8_t *minute, uint8_t *hour, uint8_t *day,
		uint8_t *date, uint8_t *month, uint16_t *year) {
	ds3231SetSec(*second);
	ds3231SetMin(*minute);
	ds3231SetHour(*hour);
	ds3231SetDay(*day);
	ds3231SetDate(*date);
	ds3231SetMonth(*month);
	ds3231SetYear(*year);
}

void displayClock(int x_coor, int y_coor, int radius) {
	const uint8_t char_size = 24;

	lcdDrawCircle(x_coor, y_coor, DARKBLUE, radius + 2, 1);
	lcdDrawCircle(x_coor, y_coor, WHITE, radius, 1);

	for (int i = 0; i < 12; i++) {
		float angle = (i * 30) * (PI / 180); // Convert angle to radians
		int x = x_coor + (radius - 15) * sin(angle);
		int y = y_coor + (radius - 15) * -cos(angle);

		lcdShowIntNumCenter(x, y, ((i == 0) ? 12 : i), 2, BLACK, WHITE,
				char_size, 1);
	}
}

/**
 * @brief this function draw new clockwise and erased old clockwise
 * @param x_coor, y_coor center of clock
 * @param length length of clockwise
 * @param *second, *minute a pointer to variable store time value
 * @param color color of clockwise
 * @return float angle of clockwise
 */
float displaySecClockwise(int x_coor, int y_coor, int length,
		const uint8_t *second, uint16_t color) {
	static float angle_sec;
	int x, y;

	x = x_coor + (length) * sin(angle_sec);
	y = y_coor + (length) * -cos(angle_sec);
	lcdDrawLine(x_coor, y_coor, x, y, WHITE);

	angle_sec = (*second * 6) * (PI / 180);
	x = x_coor + (length) * sin(angle_sec);
	y = y_coor + (length) * -cos(angle_sec);
	lcdDrawLine(x_coor, y_coor, x, y, color);

	return angle_sec;
}
float displayMinClockwise(int x_coor, int y_coor, int length,
		const uint8_t *second, const uint8_t *minute, uint16_t color) {
	static float angle_min;
	int x, y;

	x = x_coor + (length) * sin(angle_min);
	y = y_coor + (length) * -cos(angle_min);
	lcdDrawLine(x_coor, y_coor, x, y, WHITE);

	angle_min = ((*minute + *second / 60.0) * 6) * (PI / 180);
	x = x_coor + (length) * sin(angle_min);
	y = y_coor + (length) * -cos(angle_min);
	lcdDrawLine(x_coor, y_coor, x, y, color);

	return angle_min;
}
float displayHourClockwise(int x_coor, int y_coor, int length,
		const uint8_t *minute, const uint8_t *hour, uint16_t color) {
	static float angle_hour;
	int x, y;

	x = x_coor + (length) * sin(angle_hour);
	y = y_coor + (length) * -cos(angle_hour);
	lcdDrawLine(x_coor, y_coor, x, y, WHITE);

	angle_hour = ((*hour % 12 + *minute / 60.0) * 30) * (PI / 180); // 360 degrees / 12 hours = 30 degrees per hour
	x = x_coor + (length) * sin(angle_hour);
	y = y_coor + (length) * -cos(angle_hour);
	lcdDrawLine(x_coor, y_coor, x, y, color);

	return angle_hour;
}

void displayTime(int x_coor, int y_coor, const uint8_t *second,
		const uint8_t *minute, const uint8_t *hour, uint8_t char_size,
		uint16_t color_sec, uint16_t color_min, uint16_t color_hour) {
	lcdShowIntNumCenter(x_coor - char_size * 2, y_coor, *hour, 2, color_hour,
	WHITE, char_size, 0);
	lcdShowIntNumCenter(x_coor, y_coor, *minute, 2, color_min, WHITE, char_size,
			0);
	lcdShowIntNumCenter(x_coor + char_size * 2, y_coor, *second, 2, color_sec,
	WHITE, char_size, 0);

	lcdShowStringCenter(x_coor + char_size, y_coor, ":", BLACK, WHITE,
			char_size, 1);
	lcdShowStringCenter(x_coor - (char_size * 2) + char_size, y_coor, ":",
	BLACK, WHITE, char_size, 1);
}

void displayDate(int x_coor, int y_coor, const uint8_t *date,
		const uint8_t *month, const uint16_t *year, uint8_t char_size,
		uint16_t color_date, uint16_t color_month, uint16_t color_year) {
	lcdShowIntNumCenter(x_coor - char_size * 2, y_coor, *date, 2, color_date,
	WHITE, char_size, 0);
	lcdShowIntNumCenter(x_coor, y_coor, *month, 2, color_month, WHITE,
			char_size, 0);
	lcdShowIntNumCenter(x_coor + char_size * 2 + char_size / 2.0, y_coor, *year,
			4, color_year, WHITE, char_size, 0);

	lcdShowStringCenter(x_coor + char_size, y_coor, "/", color_month, WHITE,
			char_size, 1);
	lcdShowStringCenter(x_coor - (char_size * 2) + char_size, y_coor, "/",
			color_month, WHITE, char_size, 1);
}

void displayTemp(int x_coor, int y_coor, float temperature, uint8_t char_size,
		uint16_t color_temp) {
	lcdShowFloatNum(x_coor, y_coor, temperature, 4, color_temp, WHITE,
			char_size, 0);
	return;
}
void displayDay(int x_coor, int y_coor, const uint8_t *day, uint8_t char_size,
		uint16_t color_day) {
	switch (*day) {
	case 1: {
		lcdShowString(x_coor, y_coor, "Sunday   ", color_day, WHITE, char_size,
				0);
		break;
	}
	case 2: {
		lcdShowString(x_coor, y_coor, "Monday   ", color_day, WHITE, char_size,
				0);
		break;
	}
	case 3: {
		lcdShowString(x_coor, y_coor, "Tuesday  ", color_day, WHITE, char_size,
				0);
		break;
	}
	case 4: {
		lcdShowString(x_coor, y_coor, "Wednesday", color_day, WHITE, char_size,
				0);
		break;
	}
	case 5: {
		lcdShowString(x_coor, y_coor, "Thursday ", color_day, WHITE, char_size,
				0);
		break;
	}
	case 6: {
		lcdShowString(x_coor, y_coor, "Friday", color_day, WHITE, char_size, 0);
		break;
	}
	case 7: {
		lcdShowString(x_coor, y_coor, "Saturday", color_day, WHITE, char_size,
				0);
		break;
	}
	}
	return;
}

void displayTimeLed7Seg(const uint8_t *second, const uint8_t *minute,
		const uint8_t *hour) {
//	if (((*second / 10) >> 0) & 0x01) {
//		led7SegDebugTurnOn(6);
//	} else {
//		led7SegDebugTurnOff(6);
//	}
//	if (((*second / 10) >> 1) & 0x01) {
//		led7SegDebugTurnOn(7);
//	} else {
//		led7SegDebugTurnOff(7);
//	}
//	if (((*second / 10) >> 2) & 0x01) {
//		led7SegDebugTurnOn(8);
//	} else {
//		led7SegDebugTurnOff(8);
//	}

	led7_SetDigit(*hour / 10, 0, 0);
	led7_SetDigit(*hour % 10, 1, 0);

	led7_SetDigit(*minute / 10, 2, 0);
	led7_SetDigit(*minute % 10, 3, 0);

	return;
}

void increaseSec() {
	if (set_time.second < 59) {
		set_time.second += 1;
	} else {
		set_time.second = 0;
		if (set_time.minute < 59) {
			set_time.minute += 1;
		} else {
			set_time.minute = 0;
			if (set_time.hour < 23) {
				set_time.hour += 1;
			} else {
				set_time.hour = 0;
			}
		}
	}
}
void decreaseSec() {
	if (set_time.second > 0) {
		set_time.second -= 1;
	} else {
		set_time.second = 59;
		if (set_time.minute > 0) {
			set_time.minute -= 1;
		} else {
			set_time.minute = 59;
			if (set_time.hour > 0) {
				set_time.hour -= 1;
			} else {
				set_time.hour = 23;
			}
		}
	}
}
void increaseMin() {
	if (set_time.minute < 59) {
		set_time.minute += 1;
	} else {
		set_time.minute = 0;
		if (set_time.hour < 23) {
			set_time.hour += 1;
		} else {
			set_time.hour = 0;
		}
	}
}

void decreaseMin() {
	if (set_time.minute > 0) {
		set_time.minute -= 1;
	} else {
		set_time.minute = 59;
		if (set_time.hour > 0) {
			set_time.hour -= 1;
		} else {
			set_time.hour = 23;
		}
	}
}

void increaseHour() {
	if (set_time.hour < 23) {
		set_time.hour += 1;
	} else {
		set_time.hour = 0;
	}
}

void decreaseHour() {
	if (set_time.hour > 0) {
		set_time.hour -= 1;
	} else {
		set_time.hour = 23;
	}
}

void increaseDay() {
	if (set_time.day < 7) {
		set_time.day += 1;
	} else {
		set_time.day = 1;
	}
}

void decreaseDay() {
	if (set_time.day > 1) {
		set_time.day -= 1;
	} else {
		set_time.day = 7;
	}
}
void increaseDate() {
	int daysInMonth = getDaysInMonth(set_time.month, set_time.year);
	if (set_time.date < daysInMonth) {
		set_time.date += 1;
	} else {
		set_time.date = 1;
		if (set_time.month < 12) {
			set_time.month += 1;
		} else {
			set_time.month = 1;
			set_time.year += 1;
		}
	}
}

void decreaseDate() {
	if (set_time.date > 1) {
		set_time.date -= 1;
	} else {
		if (set_time.month > 1) {
			set_time.month -= 1;
		} else {
			set_time.month = 12;
			set_time.year -= 1;
		}
		set_time.date = getDaysInMonth(set_time.month, set_time.year);
	}
}

void increaseMonth() {
	if (set_time.month < 12) {
		set_time.month += 1;
	} else {
		set_time.month = 1;
		set_time.year += 1;
	}

	if (set_time.day
			> (uint8_t) (getDaysInMonth(set_time.month, set_time.year))) {
		set_time.day =
				(uint8_t) (getDaysInMonth(set_time.month, set_time.year));
	}
}

void decreaseMonth() {
	if (set_time.month > 1) {
		set_time.month -= 1;
	} else {
		set_time.month = 12;
		set_time.year -= 1;
	}

	if (set_time.day
			> (uint8_t) (getDaysInMonth(set_time.month, set_time.year))) {
		set_time.day =
				(uint8_t) (getDaysInMonth(set_time.month, set_time.year));
	}
}

void increaseYear() {
	set_time.year += 1;

	if (set_time.day
			> (uint8_t) (getDaysInMonth(set_time.month, set_time.year))) {
		set_time.day =
				(uint8_t) (getDaysInMonth(set_time.month, set_time.year));
	}
}

void decreaseYear() {
	if (set_time.year > 0) // Assuming year 0 is a valid boundary
			{
		set_time.year -= 1;
	}

	if (set_time.day
			> (uint8_t) (getDaysInMonth(set_time.month, set_time.year))) {
		set_time.day =
				(uint8_t) (getDaysInMonth(set_time.month, set_time.year));
	}
}

// Helper function to get the number of days in a month
int getDaysInMonth(int month, int year) {
	switch (month) {
	case 1:
	case 3:
	case 5:
	case 7:
	case 8:
	case 10:
	case 12: {
		return 31;
	}
	case 4:
	case 6:
	case 9:
	case 11: {
		return 30;
	}
	case 2: {
		if ((year % 4 == 0 && year % 100 != 0) || (year % 400 == 0))
			return 29; // Leap year
		else
			return 28;
	}
	default:
		return 30; // Default case, should not happen
	}
}
void Error_Handler(void) {
	__disable_irq();
	while (1) {
	}
}

/************************ (C) COPYRIGHT STMicroelectronics *****END OF FILE****/
